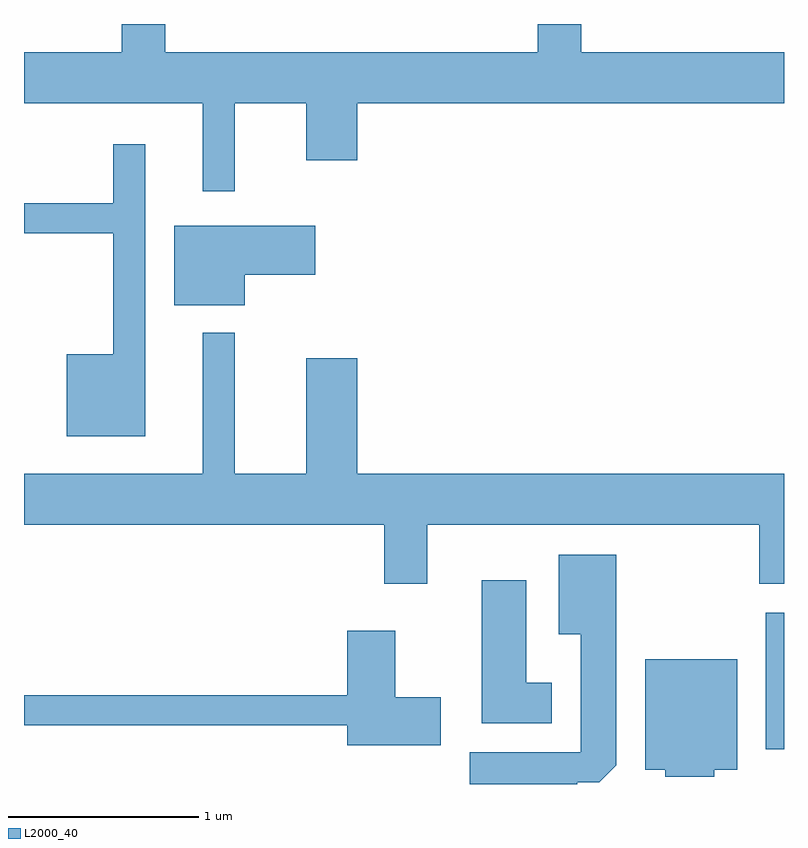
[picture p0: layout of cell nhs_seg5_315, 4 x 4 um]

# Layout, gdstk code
import gdstk
lib = gdstk.Library(unit=1e-6, precision=1e-09)
def R(c, l, rs):  # rectangles x0, y0, x1, y1
    for r in rs: c.add(gdstk.rectangle(r[:2], r[2:], *l))
def P(c, l, *ps):  # polygons
    for p in ps: c.add(gdstk.Polygon(p, *l))
L2000_40 = (2000, 40)

nhs_seg5_315 = lib.new_cell('nhs_seg5_315')
R(nhs_seg5_315, L2000_40, [(197.516,1482.256,197.611,1482.974)])
P(nhs_seg5_315, L2000_40, [(194.719,1485.656),(195.096,1485.656),(195.096,1485.356),(195.364,1485.356),(195.364,1485.656),(197.611,1485.656),(197.611,1485.924),(196.544,1485.924),(196.544,1486.072),(196.316,1486.072),(196.316,1485.924),(194.354,1485.924),(194.354,1486.072),(194.126,1486.072),(194.126,1485.924),(193.611,1485.924),(193.611,1485.656),(194.551,1485.656),(194.551,1485.193),(194.719,1485.193)],
  [(194.249,1485.438),(194.081,1485.438),(194.081,1485.129),(193.611,1485.129),(193.611,1484.971),(194.081,1484.971),(194.081,1484.334),(193.836,1484.334),(193.836,1483.901),(194.249,1483.901)],
  [(194.774,1484.751),(195.144,1484.751),(195.144,1485.009),(194.401,1485.009),(194.401,1484.591),(194.774,1484.591)],
  [(195.734,1483.436),(197.481,1483.436),(197.481,1483.126),(197.611,1483.126),(197.611,1483.704),(195.364,1483.704),(195.364,1484.314),(195.096,1484.314),(195.096,1483.704),(194.719,1483.704),(194.719,1484.448),(194.551,1484.448),(194.551,1483.704),(193.611,1483.704),(193.611,1483.436),(195.506,1483.436),(195.506,1483.126),(195.734,1483.126)],
  [(196.524,1482.081),(196.639,1482.081),(196.729,1482.172),(196.729,1483.279),(196.426,1483.279),(196.426,1482.861),(196.541,1482.861),(196.541,1482.239),(195.956,1482.239),(195.956,1482.072),(196.524,1482.072)],
  [(196.389,1482.604),(196.254,1482.604),(196.254,1483.144),(196.021,1483.144),(196.021,1482.391),(196.389,1482.391)],
  [(195.804,1482.529),(195.564,1482.529),(195.564,1482.879),(195.311,1482.879),(195.311,1482.539),(193.611,1482.539),(193.611,1482.381),(195.311,1482.381),(195.311,1482.276),(195.804,1482.276)],
  [(197.244,1482.146),(197.364,1482.146),(197.364,1482.729),(196.881,1482.729),(196.881,1482.146),(196.986,1482.146),(196.986,1482.111),(197.244,1482.111)])

lib.write_gds('nhs_seg5_315.gds')
